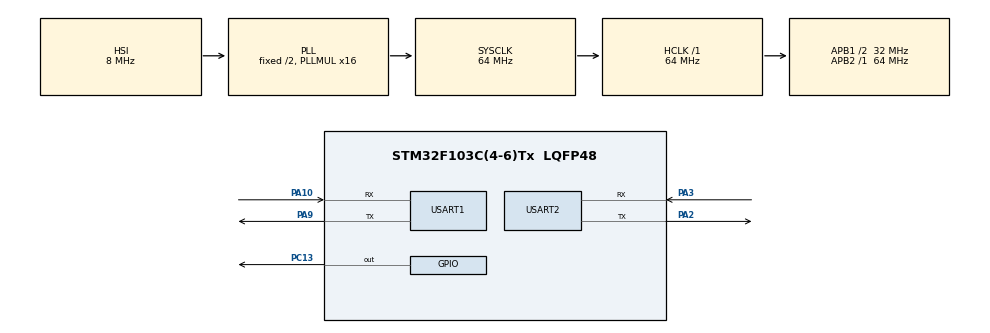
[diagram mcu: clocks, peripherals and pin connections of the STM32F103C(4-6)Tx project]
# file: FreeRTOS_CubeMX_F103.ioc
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FREERTOS.HEAP_NUMBER=4
FREERTOS.Mutexes01=uart1_mutex,Dynamic,NULL;uart2_mutex,Dynamic,NULL
FREERTOS.Tasks01=uart1_receive,0,186,uart1_start_rec,Default,NULL,Dynamic,NULL,NULL;uart1_send,0,186,uart1_start_send,Default,NULL,Dynamic,NULL,NULL;uart2_receive,-3,186,uart2_start_rec,Default,NULL,Dynamic,NULL,NULL;uart2_send,-3,186,uart2_start_send,Default,NULL,Dynamic,NULL,NULL
FREERTOS.configMINIMAL_STACK_SIZE=168
FREERTOS.configTOTAL_HEAP_SIZE=5000
Mcu.Family=STM32F1
Mcu.Name=STM32F103C(4-6)Tx
Mcu.Package=LQFP48
NVIC.PriorityGroup=NVIC_PRIORITYGROUP_4
NVIC.TIM1_UP_IRQn=true\:0\:0\:false\:false\:true\:false\:false
NVIC.TimeBase=TIM1_UP_IRQn
NVIC.TimeBaseIP=TIM1
NVIC.USART2_IRQn=true\:5\:0\:false\:false\:true\:true\:true
PA10.Mode=Asynchronous
PA10.Signal=USART1_RX
PA2.Mode=Asynchronous
PA2.Signal=USART2_TX
PA3.Mode=Asynchronous
PA3.Signal=USART2_RX
PA9.Mode=Asynchronous
PA9.Signal=USART1_TX
PC13-TAMPER-RTC.Signal=GPIO_Output
ProjectManager.HeapSize=0x200
ProjectManager.StackSize=0x400
ProjectManager.TargetToolchain=SW4STM32
RCC.AHBFreq_Value=64000000
RCC.APB1CLKDivider=RCC_HCLK_DIV2
RCC.APB1Freq_Value=32000000
RCC.APB1TimFreq_Value=64000000
RCC.APB2Freq_Value=64000000
RCC.APB2TimFreq_Value=64000000
RCC.HCLKFreq_Value=64000000
RCC.PLLMUL=RCC_PLL_MUL16
RCC.SYSCLKFreq_VALUE=64000000
RCC.SYSCLKSource=RCC_SYSCLKSOURCE_PLLCLK
RCC.USBFreq_Value=64000000
USART1.VirtualMode=VM_ASYNC
USART2.VirtualMode=VM_ASYNC
VP_FREERTOS_VS_ENABLE.Mode=Enabled
VP_SYS_VS_ND.Mode=No_Debug
VP_SYS_VS_tim1.Mode=TIM1
board=custom

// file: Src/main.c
/**
  ******************************************************************************
  * @file           : main.c
  * @brief          : Main program body
  ******************************************************************************
  * This notice applies to any and all portions of this file
  * that are not between comment pairs USER CODE BEGIN and
  * USER CODE END. Other portions of this file, whether
  * inserted by the user or by software development tools
  * are owned by their respective copyright owners.
  *
  * Copyright (c) 2018 STMicroelectronics International N.V.
  * All rights reserved.
  *
  * Redistribution and use in source and binary forms, with or without
  * modification, are permitted, provided that the following conditions are met:
  *
  * 1. Redistribution of source code must retain the above copyright notice,
  *    this list of conditions and the following disclaimer.
  * 2. Redistributions in binary form must reproduce the above copyright notice,
  *    this list of conditions and the following disclaimer in the documentation
  *    and/or other materials provided with the distribution.
  * 3. Neither the name of STMicroelectronics nor the names of other
  *    contributors to this software may be used to endorse or promote products
  *    derived from this software without specific written permission.
  * 4. This software, including modifications and/or derivative works of this
  *    software, must execute solely and exclusively on microcontroller or
  *    microprocessor devices manufactured by or for STMicroelectronics.
  * 5. Redistribution and use of this software other than as permitted under
  *    this license is void and will automatically terminate your rights under
  *    this license.
  *
  * THIS SOFTWARE IS PROVIDED BY STMICROELECTRONICS AND CONTRIBUTORS "AS IS"
  * AND ANY EXPRESS, IMPLIED OR STATUTORY WARRANTIES, INCLUDING, BUT NOT
  * LIMITED TO, THE IMPLIED WARRANTIES OF MERCHANTABILITY, FITNESS FOR A
  * PARTICULAR PURPOSE AND NON-INFRINGEMENT OF THIRD PARTY INTELLECTUAL PROPERTY
  * RIGHTS ARE DISCLAIMED TO THE FULLEST EXTENT PERMITTED BY LAW. IN NO EVENT
  * SHALL STMICROELECTRONICS OR CONTRIBUTORS BE LIABLE FOR ANY DIRECT, INDIRECT,
  * INCIDENTAL, SPECIAL, EXEMPLARY, OR CONSEQUENTIAL DAMAGES (INCLUDING, BUT NOT
  * LIMITED TO, PROCUREMENT OF SUBSTITUTE GOODS OR SERVICES; LOSS OF USE, DATA,
  * OR PROFITS; OR BUSINESS INTERRUPTION) HOWEVER CAUSED AND ON ANY THEORY OF
  * LIABILITY, WHETHER IN CONTRACT, STRICT LIABILITY, OR TORT (INCLUDING
  * NEGLIGENCE OR OTHERWISE) ARISING IN ANY WAY OUT OF THE USE OF THIS SOFTWARE,
  * EVEN IF ADVISED OF THE POSSIBILITY OF SUCH DAMAGE.
  *
  ******************************************************************************
  */
#include "main.h"
#include "stm32f1xx_hal.h"
#include "cmsis_os.h"
#include <stdio.h>

UART_HandleTypeDef huart1;
UART_HandleTypeDef huart2;

osThreadId uart1_receiveHandle;
osThreadId uart1_sendHandle;
osThreadId uart2_receiveHandle;
osThreadId uart2_sendHandle;
osMutexId uart1_mutexHandle;
osMutexId uart2_mutexHandle;

/* USER CODE BEGIN PV */
/* Private variables ---------------------------------------------------------*/

/* USER CODE END PV */

void SystemClock_Config(void);
static void MX_GPIO_Init(void);
static void MX_USART2_UART_Init(void);
static void MX_USART1_UART_Init(void);
void uart1_start_rec(void const * argument);
void uart1_start_send(void const * argument);
void uart2_start_rec(void const * argument);
void uart2_start_send(void const * argument);

/* USER CODE BEGIN PFP */
/* Private function prototypes -----------------------------------------------*/

/* USER CODE END PFP */

int main(void)
{

  /* MCU Configuration----------------------------------------------------------*/

  /* Reset of all peripherals, Initializes the Flash interface and the Systick. */
  HAL_Init();

  /* Configure the system clock */
  SystemClock_Config();

  /* Initialize all configured peripherals */
  MX_GPIO_Init();
  MX_USART2_UART_Init();
  MX_USART1_UART_Init();

  /* Create the mutex(es) */
  /* definition and creation of uart1_mutex */
  osMutexDef(uart1_mutex);
  uart1_mutexHandle = osMutexCreate(osMutex(uart1_mutex));

  /* definition and creation of uart2_mutex */
  osMutexDef(uart2_mutex);
  uart2_mutexHandle = osMutexCreate(osMutex(uart2_mutex));

  /* Create the thread(s) */
  /* definition and creation of uart1_receive */
  osThreadDef(uart1_receive, uart1_start_rec, osPriorityNormal, 0, 186);
  uart1_receiveHandle = osThreadCreate(osThread(uart1_receive), NULL);

  /* definition and creation of uart1_send */
  osThreadDef(uart1_send, uart1_start_send, osPriorityNormal, 0, 186);
  uart1_sendHandle = osThreadCreate(osThread(uart1_send), NULL);

  /* definition and creation of uart2_receive */
  osThreadDef(uart2_receive, uart2_start_rec, osPriorityIdle, 0, 186);
  uart2_receiveHandle = osThreadCreate(osThread(uart2_receive), NULL);

  /* definition and creation of uart2_send */
  osThreadDef(uart2_send, uart2_start_send, osPriorityIdle, 0, 186);
  uart2_sendHandle = osThreadCreate(osThread(uart2_send), NULL);

  /* Start scheduler */
  osKernelStart();

  /* We should never get here as control is now taken by the scheduler */

  /* Infinite loop */
  while (1)
  {

  }

}

void SystemClock_Config(void)
{

  RCC_OscInitTypeDef RCC_OscInitStruct;
  RCC_ClkInitTypeDef RCC_ClkInitStruct;

    /**Initializes the CPU, AHB and APB busses clocks
    */
  RCC_OscInitStruct.OscillatorType = RCC_OSCILLATORTYPE_HSI;
  RCC_OscInitStruct.HSIState = RCC_HSI_ON;
  RCC_OscInitStruct.HSICalibrationValue = 16;
  RCC_OscInitStruct.PLL.PLLState = RCC_PLL_ON;
  RCC_OscInitStruct.PLL.PLLSource = RCC_PLLSOURCE_HSI_DIV2;
  RCC_OscInitStruct.PLL.PLLMUL = RCC_PLL_MUL16;
  if (HAL_RCC_OscConfig(&RCC_OscInitStruct) != HAL_OK)
  {
    _Error_Handler(__FILE__, __LINE__);
  }

    /**Initializes the CPU, AHB and APB busses clocks
    */
  RCC_ClkInitStruct.ClockType = RCC_CLOCKTYPE_HCLK|RCC_CLOCKTYPE_SYSCLK
                              |RCC_CLOCKTYPE_PCLK1|RCC_CLOCKTYPE_PCLK2;
  RCC_ClkInitStruct.SYSCLKSource = RCC_SYSCLKSOURCE_PLLCLK;
  RCC_ClkInitStruct.AHBCLKDivider = RCC_SYSCLK_DIV1;
  RCC_ClkInitStruct.APB1CLKDivider = RCC_HCLK_DIV2;
  RCC_ClkInitStruct.APB2CLKDivider = RCC_HCLK_DIV1;

  if (HAL_RCC_ClockConfig(&RCC_ClkInitStruct, FLASH_LATENCY_2) != HAL_OK)
  {
    _Error_Handler(__FILE__, __LINE__);
  }

    /**Configure the Systick interrupt time
    */
  HAL_SYSTICK_Config(HAL_RCC_GetHCLKFreq()/1000);

    /**Configure the Systick
    */
  HAL_SYSTICK_CLKSourceConfig(SYSTICK_CLKSOURCE_HCLK);

  /* SysTick_IRQn interrupt configuration */
  HAL_NVIC_SetPriority(SysTick_IRQn, 15, 0);
}

/* USART1 init function */
static void MX_USART1_UART_Init(void)
{

  huart1.Instance = USART1;
  huart1.Init.BaudRate = 115200;
  huart1.Init.WordLength = UART_WORDLENGTH_8B;
  huart1.Init.StopBits = UART_STOPBITS_1;
  huart1.Init.Parity = UART_PARITY_NONE;
  huart1.Init.Mode = UART_MODE_TX_RX;
  huart1.Init.HwFlowCtl = UART_HWCONTROL_NONE;
  huart1.Init.OverSampling = UART_OVERSAMPLING_16;
  if (HAL_UART_Init(&huart1) != HAL_OK)
  {
    _Error_Handler(__FILE__, __LINE__);
  }

}

/* USART2 init function */
static void MX_USART2_UART_Init(void)
{

  huart2.Instance = USART2;
  huart2.Init.BaudRate = 115200;
  huart2.Init.WordLength = UART_WORDLENGTH_8B;
  huart2.Init.StopBits = UART_STOPBITS_1;
  huart2.Init.Parity = UART_PARITY_NONE;
  huart2.Init.Mode = UART_MODE_TX_RX;
  huart2.Init.HwFlowCtl = UART_HWCONTROL_NONE;
  huart2.Init.OverSampling = UART_OVERSAMPLING_16;
  if (HAL_UART_Init(&huart2) != HAL_OK)
  {
    _Error_Handler(__FILE__, __LINE__);
  }

}

/** Configure pins as
        * Analog
        * Input
        * Output
        * EVENT_OUT
        * EXTI
*/
static void MX_GPIO_Init(void)
{

  GPIO_InitTypeDef GPIO_InitStruct;

  /* GPIO Ports Clock Enable */
  __HAL_RCC_GPIOC_CLK_ENABLE();
  __HAL_RCC_GPIOA_CLK_ENABLE();

  /*Configure GPIO pin Output Level */
  HAL_GPIO_WritePin(GPIOC, GPIO_PIN_13, GPIO_PIN_RESET);

  /*Configure GPIO pin : PC13 */
  GPIO_InitStruct.Pin = GPIO_PIN_13;
  GPIO_InitStruct.Mode = GPIO_MODE_OUTPUT_PP;
  GPIO_InitStruct.Pull = GPIO_NOPULL;
  GPIO_InitStruct.Speed = GPIO_SPEED_FREQ_LOW;
  HAL_GPIO_Init(GPIOC, &GPIO_InitStruct);

}

void uart1_start_rec(void const * argument)
{

  /* USER CODE BEGIN 5 */
  /* Infinite loop */
	uint8_t buffor[10];
	uint8_t message[10] = "ABCDEFGH\r\n";

  while(1)
  {
	  HAL_GPIO_WritePin(GPIOC, GPIO_PIN_13, GPIO_PIN_SET);
	  if(HAL_UART_Receive(&huart1, buffor, 10, 10) > 0)
	  {
		  uint8_t flag = 1;

		  for(int i = 0; i < 10; i++)
		  {
			  if(buffor[i] != message[i]) flag = 0;
		  }

		  if(flag == 1) xTaskNotify(uart1_sendHandle, 0x01, eSetBits);

	  }
	  osDelay(1000);
  }
  /* USER CODE END 5 */
}

void uart1_start_send(void const * argument)
{
	uint8_t message[13] = "OK I GET IT\n\r";
	uint32_t notValue;

	while(1)
	{
		xTaskNotifyWait(pdFALSE, 0xFF, &notValue, portMAX_DELAY);
		xSemaphoreTake(uart1_mutexHandle ,portMAX_DELAY);
		HAL_UART_Transmit(&huart1, message, 13, 100);
		xSemaphoreGive(uart1_mutexHandle);
		osDelay(1000);
	}
  /* USER CODE END uart1_start_send */
}

void uart2_start_rec(void const * argument)
{
  for(;;)
  {
    osDelay(1);
  }
}

void uart2_start_send(void const * argument)
{
  /* USER CODE BEGIN uart2_start_send */
  /* Infinite loop */

	uint8_t buf[10] = "ABCDEFGH\r\n";
  for(;;)
  {
	  HAL_GPIO_WritePin(GPIOC, GPIO_PIN_13, GPIO_PIN_RESET);
	  xSemaphoreTake(uart2_mutexHandle, portMAX_DELAY);
	  HAL_UART_Transmit(&huart2, buf, 10, 100);
	  xSemaphoreGive(uart2_mutexHandle);

  }
  osDelay(1000);
  /* USER CODE END uart2_start_send */
}

void HAL_TIM_PeriodElapsedCallback(TIM_HandleTypeDef *htim)
{
  if (htim->Instance == TIM1) {
    HAL_IncTick();
  }
}

void _Error_Handler(char *file, int line)
{
  while(1)
  {
  }
}

/************************ (C) COPYRIGHT STMicroelectronics *****END OF FILE****/
